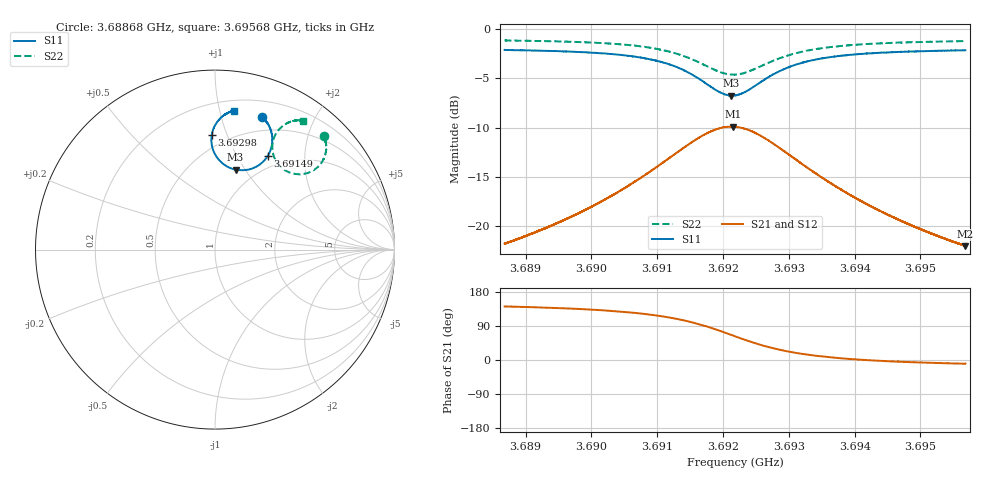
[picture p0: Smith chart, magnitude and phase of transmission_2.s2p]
!Agilent Technologies,N5221A,MY51411109,A.09.90.13
!Agilent N5221A: A.09.90.13
!Date: Friday, February 18, 2022 15:59:48
!Correction: S11(Full 2 Port(1,2))
!S21(Full 2 Port(1,2))
!S12(Full 2 Port(1,2))
!S22(Full 2 Port(1,2))
!S2P File: Measurements: S11, S21, S12, S22:
# Hz S  RI  R 50
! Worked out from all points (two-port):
!   12801 points, 3.68868 GHz to 3.69568 GHz, reference 50 ohm
!   highest |S21| = -9.89 dB at 3.69216 GHz (marker M1); lowest = -22.0 dB at 3.69568 GHz (marker M2)
!   |S21| within 3 dB of the highest: 3.691225 GHz to 3.693032 GHz (1.807 MHz wide, 0.0489 % of centre)
!   lowest |S11| = -6.8 dB at 3.69212 GHz (marker M3), VSWR 2.70, Z = 40.2 + j45.3 ohm
!   |S11| at or under -10 dB: nowhere
!   |S22| runs from -4.6 to -1.1 dB; largest |S21 - S12| = 0.0011
!   S11 on the Smith chart (normalised r, x): 3.68868 GHz: 0.35, +1.36; 3.69149 GHz: 0.83, +1.35; 3.69298 GHz: 0.41, +0.88; 3.69568 GHz: 0.28, +1.10
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3.688682e9  0.263 0.7396  -0.0635 0.051  -0.0636 0.0508  0.6046 0.6338
3.689279e9  0.2751 0.7274  -0.0725 0.0645  -0.0724 0.0645  0.6114 0.619
3.689849e9  0.2888 0.7077  -0.0825 0.0844  -0.0827 0.0846  0.6166 0.5991
3.690496e9  0.3094 0.6697  -0.0936 0.1243  -0.0935 0.1241  0.6195 0.5604
3.691016e9  0.3197 0.6097  -0.0911 0.1805  -0.0913 0.1807  0.6071 0.5089
3.691277e9  0.3133 0.5653  -0.0764 0.2206  -0.0769 0.2207  0.5863 0.4757
3.691488e9  0.2939 0.5221  -0.0511 0.2565  -0.0509 0.2566  0.5559 0.4472
3.691656e9  0.2647 0.487  -0.0177 0.2833  -0.017 0.2834  0.5201 0.4278
3.691836e9  0.2173 0.4563  0.0327 0.303  0.0326 0.3029  0.4703 0.4194
3.691983e9  0.1671 0.4431  0.0812 0.3057  0.0811 0.306  0.425 0.4259
3.692123e9  0.115 0.4449  0.1287 0.2929  0.1286 0.2932  0.3835 0.4461
3.692156e9  0.103 0.4488  0.1396 0.2884  0.1393 0.2885  0.3746 0.453
3.692182e9  0.0937 0.4513  0.1472 0.2838  0.1472 0.2841  0.3683 0.4584
3.69237e9  0.0353 0.4859  0.1945 0.2402  0.1946 0.2406  0.3329 0.5072
3.692555e9  -0.00153 0.5342  0.2195 0.1894  0.2195 0.189  0.3195 0.5592
3.692733e9  -0.0179 0.5823  0.2253 0.1422  0.2254 0.1425  0.3228 0.6041
3.692979e9  -0.0178 0.6374  0.2154 0.0905  0.2151 0.0904  0.3419 0.6491
3.693349e9  0.00178 0.695  0.1865 0.0415  0.1865 0.0416  0.3781 0.689
3.693902e9  0.0369 0.7387  0.1458 0.00783  0.1457 0.00791  0.4219 0.7127
3.694516e9  0.0673 0.7598  0.1135 -0.00636  0.1136 -0.00648  0.455 0.7192
3.69568e9  0.1039 0.7744  0.0779 -0.0135  0.0783 -0.0135  0.4895 0.7192
3.695682e9  0.1038 0.7748  0.0781 -0.0135  0.078 -0.0133  0.489 0.719
